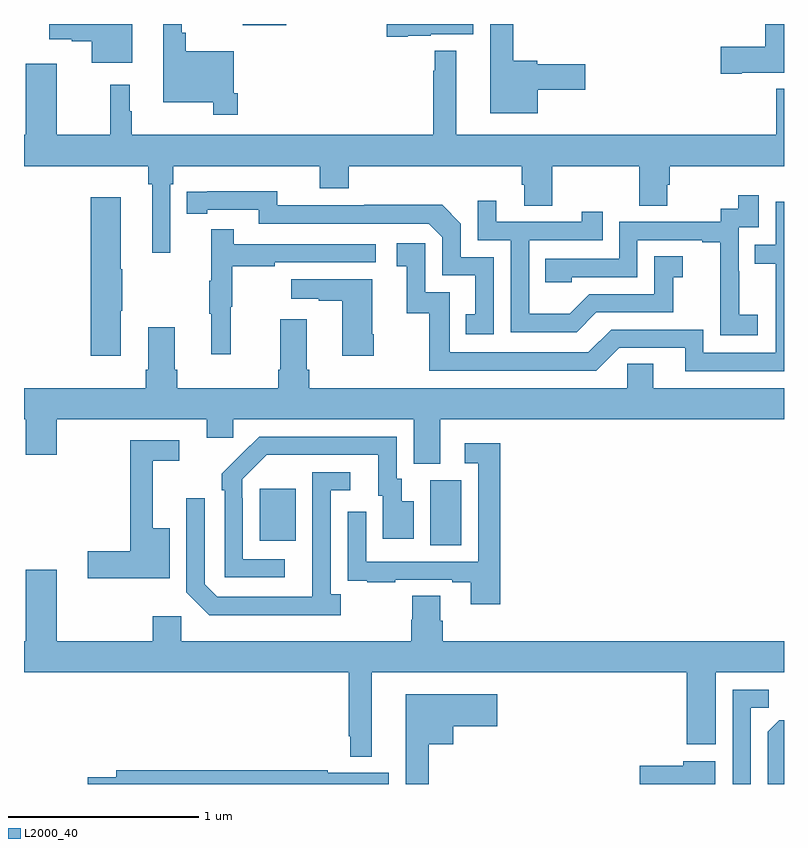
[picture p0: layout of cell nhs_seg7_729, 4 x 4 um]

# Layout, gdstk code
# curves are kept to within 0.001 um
import gdstk
lib = gdstk.Library(unit=1e-6, precision=1e-09)
def R(c, l, rs):  # rectangles x0, y0, x1, y1
    for r in rs: c.add(gdstk.rectangle(r[:2], r[2:], *l))
def P(c, l, *ps):  # polygons
    for p in ps: c.add(gdstk.Polygon(p, *l))
L2000_40 = (2000, 40)

nhs_seg7_729 = lib.new_cell('nhs_seg7_729')
R(nhs_seg7_729, L2000_40, [(167.138,1029.256,167.302,1029.6), (166.241,1029.281,166.429,1029.555), (166.152,1031.993,166.381,1032)])
P(nhs_seg7_729, L2000_40, [(167.02,1031.939),(167.142,1031.939),(167.142,1031.945),(167.365,1031.945),(167.365,1032),(166.908,1032),(166.908,1031.933),(167.02,1031.933)],
  [(166.124,1031.635),(166.104,1031.635),(166.104,1031.857),(165.851,1031.857),(165.851,1031.953),(165.831,1031.953),(165.831,1032),(165.734,1032),(165.734,1031.588),(165.996,1031.588),(165.996,1031.523),(166.124,1031.523)],
  [(165.571,1032),(165.132,1032),(165.132,1031.921),(165.252,1031.921),(165.252,1031.909),(165.356,1031.909),(165.356,1031.795),(165.571,1031.795)],
  [(168.778,1031.744),(169,1031.744),(169,1032),(168.902,1032),(168.902,1031.879),(168.666,1031.879),(168.666,1031.737),(168.778,1031.737)],
  [(167.704,1031.654),(167.953,1031.654),(167.953,1031.789),(167.7,1031.789),(167.7,1031.807),(167.575,1031.807),(167.575,1032),(167.453,1032),(167.453,1031.531),(167.704,1031.531)],
  [(165.771,1031.156),(165.785,1031.156),(165.785,1031.252),(166.556,1031.252),(166.556,1031.135),(166.709,1031.135),(166.709,1031.252),(167.621,1031.252),(167.621,1031.154),(167.633,1031.154),(167.633,1031.044),(167.781,1031.044),(167.781,1031.252),(168.238,1031.252),(168.238,1031.044),(168.385,1031.044),(168.385,1031.154),(168.398,1031.154),(168.398,1031.252),(169,1031.252),(169,1031.659),(168.959,1031.659),(168.959,1031.416),(167.275,1031.416),(167.275,1031.86),(167.161,1031.86),(167.161,1031.753),(167.154,1031.753),(167.154,1031.416),(165.568,1031.416),(165.568,1031.54),(165.556,1031.54),(165.556,1031.68),(165.454,1031.68),(165.454,1031.416),(165.172,1031.416),(165.172,1031.791),(165.008,1031.791),(165.008,1031.416),(165,1031.416),(165,1031.252),(165.655,1031.252),(165.655,1031.156),(165.674,1031.156),(165.674,1030.797),(165.771,1030.797)],
  [(167.472,1030.773),(167.298,1030.773),(167.298,1030.95),(167.2,1031.048),(166.792,1031.048),(166.792,1031.046),(166.332,1031.046),(166.332,1031.119),(165.856,1031.118),(165.856,1031.002),(165.964,1031.002),(165.964,1031.022),(166.236,1031.022),(166.236,1030.95),(167.13,1030.95),(167.202,1030.878),(167.202,1030.677),(167.375,1030.677),(167.375,1030.473),(167.326,1030.473),(167.326,1030.368),(167.472,1030.368)],
  [(168.862,1030.471),(168.764,1030.471),(168.764,1030.7),(168.762,1030.7),(168.762,1030.929),(168.867,1030.929),(168.867,1031.098),(168.759,1031.098),(168.759,1031.028),(168.666,1031.028),(168.666,1030.959),(168.132,1030.959),(168.132,1030.764),(167.743,1030.764),(167.743,1030.641),(167.883,1030.641),(167.883,1030.668),(168.228,1030.668),(168.228,1030.863),(168.569,1030.863),(168.569,1030.851),(168.665,1030.851),(168.665,1030.567),(168.664,1030.567),(168.664,1030.361),(168.862,1030.361)],
  [(165.508,1030.492),(165.516,1030.492),(165.516,1030.709),(165.508,1030.709),(165.508,1031.089),(165.35,1031.089),(165.35,1030.254),(165.508,1030.254)],
  [(168.013,1030.482),(168.417,1030.482),(168.417,1030.667),(168.466,1030.667),(168.466,1030.777),(168.318,1030.777),(168.318,1030.578),(167.976,1030.578),(167.872,1030.474),(167.658,1030.474),(167.658,1030.863),(168.047,1030.863),(168.047,1031.011),(167.936,1031.011),(167.936,1030.959),(167.485,1030.959),(167.485,1031.071),(167.388,1031.071),(167.388,1030.863),(167.562,1030.863),(167.562,1030.377),(167.908,1030.377)],
  [(169,1031.064),(168.957,1031.064),(168.957,1030.839),(168.847,1030.839),(168.847,1030.738),(168.957,1030.738),(168.957,1030.269),(168.576,1030.269),(168.576,1030.392),(168.09,1030.392),(167.97,1030.272),(167.241,1030.272),(167.241,1030.587),(167.112,1030.587),(167.112,1030.846),(166.962,1030.846),(166.962,1030.725),(167.015,1030.725),(167.015,1030.478),(167.133,1030.478),(167.133,1030.176),(168.012,1030.176),(168.132,1030.296),(168.479,1030.296),(168.479,1030.173),(169,1030.173)],
  [(166.088,1030.512),(166.096,1030.512),(166.096,1030.726),(166.319,1030.726),(166.319,1030.746),(166.852,1030.746),(166.852,1030.842),(166.103,1030.842),(166.103,1030.921),(165.986,1030.921),(165.986,1030.649),(165.975,1030.649),(165.975,1030.475),(165.986,1030.475),(165.986,1030.263),(166.088,1030.263)],
  [(166.842,1030.366),(166.834,1030.366),(166.834,1030.657),(166.407,1030.657),(166.407,1030.553),(166.55,1030.553),(166.55,1030.543),(166.676,1030.543),(166.676,1030.254),(166.842,1030.254)],
  [(166.349,1030.447),(166.349,1030.18),(166.337,1030.18),(166.337,1030.084),(165.806,1030.084),(165.806,1030.18),(165.793,1030.18),(165.793,1030.405),(165.653,1030.405),(165.653,1030.18),(165.641,1030.18),(165.641,1030.084),(165,1030.084),(165,1029.92),(165.008,1029.92),(165.008,1029.732),(165.172,1029.732),(165.172,1029.92),(165.962,1029.92),(165.962,1029.822),(166.101,1029.822),(166.101,1029.92),(167.051,1029.92),(167.051,1029.685),(167.191,1029.685),(167.191,1029.92),(169,1029.92),(169,1030.084),(168.313,1030.084),(168.313,1030.211),(168.174,1030.211),(168.174,1030.084),(166.502,1030.084),(166.502,1030.18),(166.489,1030.18),(166.489,1030.447)],
  [(166.372,1029.183),(166.152,1029.183),(166.152,1029.503),(166.149,1029.503),(166.149,1029.603),(166.278,1029.732),(166.865,1029.732),(166.865,1029.516),(166.889,1029.516),(166.889,1029.291),(167.05,1029.291),(167.05,1029.487),(166.987,1029.487),(166.987,1029.606),(166.962,1029.606),(166.962,1029.828),(166.238,1029.828),(166.041,1029.633),(166.041,1029.545),(166.056,1029.545),(166.056,1029.087),(166.372,1029.087)],
  [(165.766,1029.346),(165.677,1029.346),(165.677,1029.702),(165.817,1029.702),(165.817,1029.81),(165.559,1029.81),(165.559,1029.224),(165.336,1029.224),(165.336,1029.082),(165.766,1029.082)],
  [(167.507,1029.793),(167.319,1029.793),(167.319,1029.687),(167.391,1029.687),(167.391,1029.171),(166.8,1029.171),(166.8,1029.433),(166.704,1029.433),(166.704,1029.178),(166.705,1029.178),(166.705,1029.069),(166.807,1029.069),(166.807,1029.063),(166.955,1029.063),(166.955,1029.075),(167.255,1029.075),(167.255,1029.063),(167.351,1029.063),(167.351,1028.946),(167.507,1028.946)],
  [(166.666,1028.998),(166.614,1028.998),(166.614,1029.546),(166.717,1029.546),(166.717,1029.642),(166.518,1029.642),(166.517,1028.985),(166.017,1028.985),(165.951,1029.051),(165.951,1029.505),(165.855,1029.505),(165.855,1029.009),(165.976,1028.888),(166.666,1028.888)],
  [(166.831,1028.588),(168.488,1028.588),(168.488,1028.208),(168.64,1028.208),(168.64,1028.588),(169,1028.588),(169,1028.752),(167.204,1028.752),(167.204,1028.858),(167.191,1028.858),(167.191,1028.99),(167.044,1028.99),(167.044,1028.865),(167.039,1028.865),(167.039,1028.752),(165.828,1028.752),(165.828,1028.884),(165.677,1028.884),(165.677,1028.752),(165.172,1028.752),(165.172,1029.127),(165.008,1029.127),(165.008,1028.752),(165,1028.752),(165,1028.588),(166.71,1028.588),(166.71,1028.251),(166.716,1028.251),(166.716,1028.144),(166.831,1028.144)],
  [(168.825,1028.401),(168.921,1028.401),(168.921,1028.496),(168.729,1028.496),(168.729,1028),(168.825,1028)],
  [(167.131,1028.21),(167.26,1028.21),(167.26,1028.303),(167.491,1028.303),(167.491,1028.473),(167.009,1028.473),(167.009,1028),(167.131,1028)],
  [(169,1028.335),(168.974,1028.335),(168.915,1028.276),(168.915,1028),(169,1028)],
  [(168.637,1028.119),(168.47,1028.119),(168.47,1028.096),(168.24,1028.096),(168.24,1028),(168.637,1028)],
  [(166.921,1028.059),(166.598,1028.059),(166.598,1028.072),(165.485,1028.072),(165.485,1028.036),(165.336,1028.036),(165.336,1028),(166.921,1028)])

lib.write_gds('nhs_seg7_729.gds')
